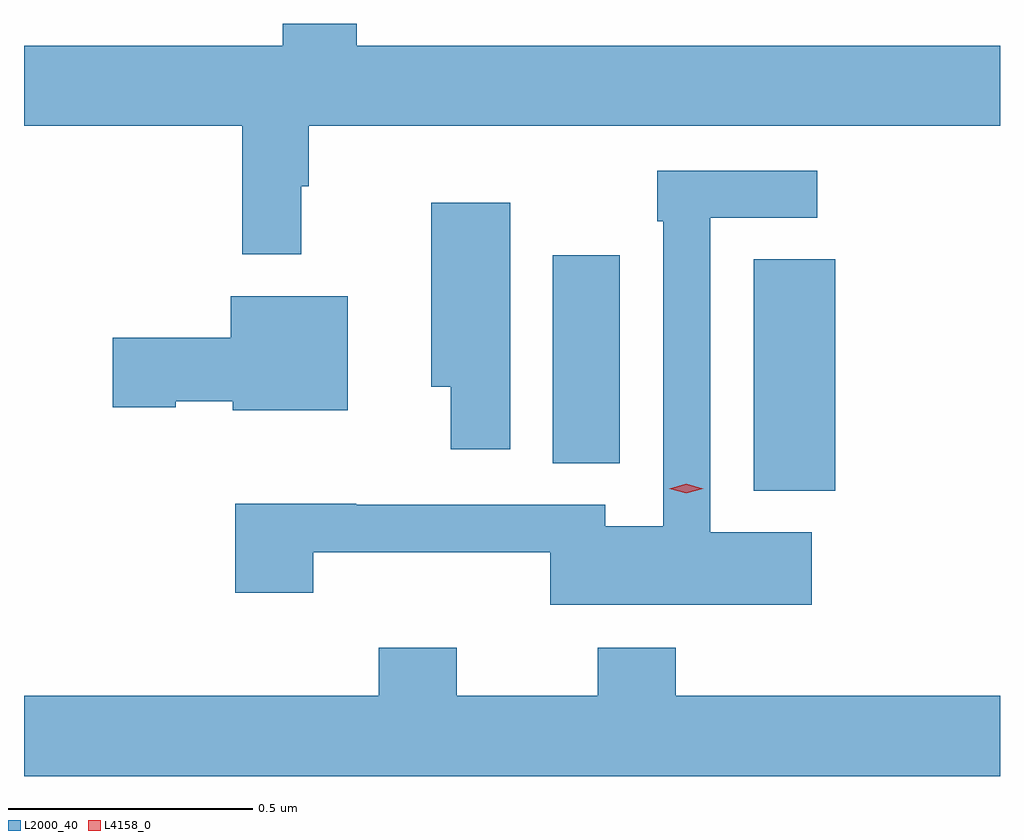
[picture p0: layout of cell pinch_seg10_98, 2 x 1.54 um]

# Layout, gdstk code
import gdstk
lib = gdstk.Library(unit=1e-6, precision=1e-09)
def R(c, l, rs):  # rectangles x0, y0, x1, y1
    for r in rs: c.add(gdstk.rectangle(r[:2], r[2:], *l))
def P(c, l, *ps):  # polygons
    for p in ps: c.add(gdstk.Polygon(p, *l))
L2000_40 = (2000, 40)
L4158_0 = (4158, 0)

pinch_seg10_98 = lib.new_cell('pinch_seg10_98')
R(pinch_seg10_98, L2000_40, [(720.761,1291.577,720.928,1292.051), (720.35,1291.633,720.487,1292.059)])
P(pinch_seg10_98, L2000_40, [(719.834,1292.201),(719.849,1292.201),(719.849,1292.324),(721.266,1292.324),(721.266,1292.488),(719.948,1292.488),(719.948,1292.533),(719.796,1292.533),(719.796,1292.488),(719.266,1292.488),(719.266,1292.324),(719.713,1292.324),(719.713,1292.061),(719.834,1292.061)],
  [(720.88,1291.492),(720.672,1291.492),(720.672,1292.136),(720.892,1292.136),(720.892,1292.232),(720.564,1292.232),(720.564,1292.129),(720.576,1292.129),(720.576,1291.504),(720.457,1291.504),(720.457,1291.548),(719.947,1291.548),(719.947,1291.55),(719.699,1291.55),(719.699,1291.368),(719.859,1291.368),(719.859,1291.451),(720.344,1291.451),(720.344,1291.343),(720.88,1291.343)],
  [(720.262,1292.167),(720.101,1292.167),(720.101,1291.79),(720.14,1291.79),(720.14,1291.662),(720.262,1291.662)],
  [(719.929,1291.975),(719.69,1291.975),(719.69,1291.89),(719.448,1291.89),(719.448,1291.748),(719.577,1291.748),(719.577,1291.76),(719.694,1291.76),(719.694,1291.742),(719.929,1291.742)],
  [(721.266,1291.156),(720.602,1291.156),(720.602,1291.255),(720.442,1291.255),(720.442,1291.156),(720.153,1291.156),(720.153,1291.255),(719.993,1291.255),(719.993,1291.156),(719.266,1291.156),(719.266,1290.992),(721.266,1290.992)])
P(pinch_seg10_98, L4158_0, [(720.623,1291.571),(720.588,1291.581),(720.588,1291.581),(720.588,1291.581),(720.623,1291.591),(720.658,1291.581),(720.658,1291.581),(720.658,1291.581)])

lib.write_gds('pinch_seg10_98.gds')
